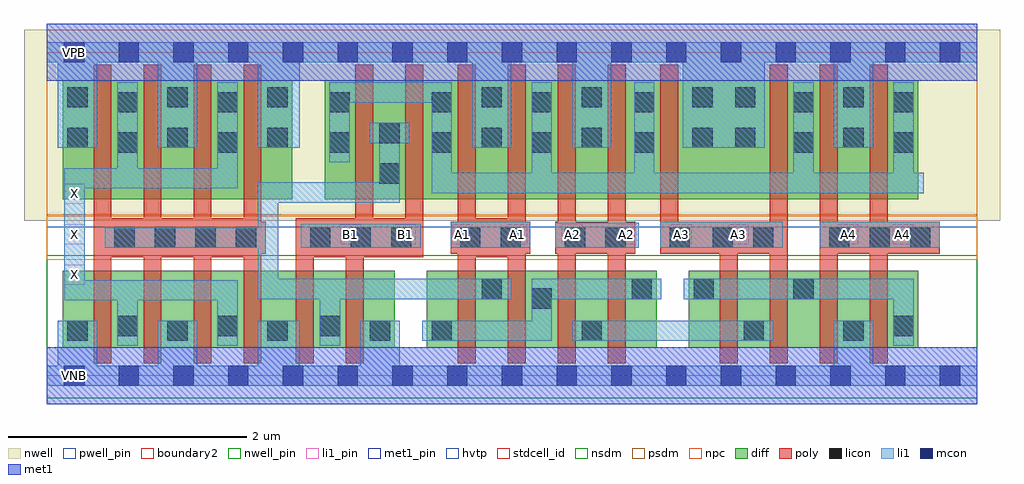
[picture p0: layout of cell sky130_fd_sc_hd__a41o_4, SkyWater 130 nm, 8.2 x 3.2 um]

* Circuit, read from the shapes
.subckt sky130_fd_sc_hd__a41o_4 A1 A2 A3 A4 B1 VGND VNB VPB VPWR X
XM1 X n1 VGND VNB sky130_fd_pr__nfet_01v8 w=0.65 l=0.15 m=4
XM2 n1 B1 VGND VNB sky130_fd_pr__nfet_01v8 w=0.65 l=0.15 m=2
XM3 n1 A1 n2 VNB sky130_fd_pr__nfet_01v8 w=0.65 l=0.15 m=2
XM4 n3 A2 n2 VNB sky130_fd_pr__nfet_01v8 w=0.65 l=0.15 m=2
XM5 n3 A3 n4 VNB sky130_fd_pr__nfet_01v8 w=0.65 l=0.15 m=2
XM6 VGND A4 n4 VNB sky130_fd_pr__nfet_01v8 w=0.65 l=0.15 m=2
XM7 X n1 VPWR VPB sky130_fd_pr__pfet_01v8_hvt w=1 l=0.15 m=4
XM8 n1 B1 n5 VPB sky130_fd_pr__pfet_01v8_hvt w=1 l=0.15 m=2
XM9 VPWR A1 n5 VPB sky130_fd_pr__pfet_01v8_hvt w=1 l=0.15 m=2
XM10 VPWR A2 n5 VPB sky130_fd_pr__pfet_01v8_hvt w=1 l=0.15 m=2
XM11 VPWR A3 n5 VPB sky130_fd_pr__pfet_01v8_hvt w=1 l=0.15 m=2
XM12 VPWR A4 n5 VPB sky130_fd_pr__pfet_01v8_hvt w=1 l=0.15 m=2
.ends

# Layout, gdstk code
import gdstk
lib = gdstk.Library(unit=1e-6, precision=1e-09)
def R(c, l, rs):  # rectangles x0, y0, x1, y1
    for r in rs: c.add(gdstk.rectangle(r[:2], r[2:], *l))
def A(c, l, x, y, w, h, nx, ny, dx, dy):  # array of equal rectangles
    R(c, l, [(x+i*dx, y+j*dy, x+i*dx+w, y+j*dy+h) for i in range(nx) for j in range(ny)])
def P(c, l, *ps):  # polygons
    for p in ps: c.add(gdstk.Polygon(p, *l))
nwell_pin = (64, 16)
nwell = (64, 20)
diff = (65, 20)
poly = (66, 20)
licon = (66, 44)
li1_pin = (67, 16)
li1 = (67, 20)
mcon = (67, 44)
met1_pin = (68, 16)
met1 = (68, 20)
hvtp = (78, 44)
stdcell_id = (81, 4)
nsdm = (93, 44)
psdm = (94, 20)
npc = (95, 20)
pwell_pin = (122, 16)
boundary2 = (236, 0)

sky130_fd_sc_hd__a41o_4 = lib.new_cell('sky130_fd_sc_hd__a41o_4')
R(sky130_fd_sc_hd__a41o_4, nwell_pin, [(0.15,2.635,0.32,2.805)])
R(sky130_fd_sc_hd__a41o_4, nwell, [(-0.19,1.305,8.01,2.91)])
R(sky130_fd_sc_hd__a41o_4, diff, [(0.135,0.235,2.925,0.885), (3.195,0.235,5.125,0.885), (5.395,0.235,7.325,0.885), (0.135,1.485,2.065,2.485), (2.335,1.485,7.325,2.485)])
P(sky130_fd_sc_hd__a41o_4, poly, [(7.505,1.295),(7.065,1.295),(7.065,2.615),(6.915,2.615),(6.915,1.295),(6.645,1.295),(6.645,2.615),(6.495,2.615),(6.495,0.105),(6.645,0.105),(6.645,1.025),(6.915,1.025),(6.915,0.105),(7.065,0.105),(7.065,1.025),(7.505,1.025)],
  [(1.84,1.295),(1.805,1.295),(1.805,2.615),(1.655,2.615),(1.655,1.325),(1.385,1.325),(1.385,2.615),(1.235,2.615),(1.235,1.325),(0.965,1.325),(0.965,2.615),(0.815,2.615),(0.815,1.325),(0.545,1.325),(0.545,2.615),(0.395,2.615),(0.395,0.105),(0.545,0.105),(0.545,0.995),(0.815,0.995),(0.815,0.105),(0.965,0.105),(0.965,0.995),(1.235,0.995),(1.235,0.105),(1.385,0.105),(1.385,0.995),(1.655,0.995),(1.655,0.105),(1.805,0.105),(1.805,1.025),(1.84,1.025)],
  [(3.165,2.615),(3.015,2.615),(3.015,1.325),(2.745,1.325),(2.745,2.615),(2.595,2.615),(2.595,1.325),(2.095,1.325),(2.095,0.105),(2.245,0.105),(2.245,0.995),(2.515,0.995),(2.515,0.105),(2.665,0.105),(2.665,0.995),(3.165,0.995)],
  [(4.065,1.295),(4.025,1.295),(4.025,2.615),(3.875,2.615),(3.875,1.325),(3.605,1.325),(3.605,2.615),(3.455,2.615),(3.455,1.295),(3.395,1.295),(3.395,1.025),(3.455,1.025),(3.455,0.105),(3.605,0.105),(3.605,0.995),(3.875,0.995),(3.875,0.105),(4.025,0.105),(4.025,1.025),(4.065,1.025)],
  [(4.945,1.295),(4.865,1.295),(4.865,2.615),(4.715,2.615),(4.715,1.295),(4.445,1.295),(4.445,2.615),(4.295,2.615),(4.295,1.295),(4.275,1.295),(4.275,1.025),(4.295,1.025),(4.295,0.105),(4.445,0.105),(4.445,1.025),(4.715,1.025),(4.715,0.105),(4.865,0.105),(4.865,1.025),(4.945,1.025)],
  [(6.225,2.615),(6.075,2.615),(6.075,1.295),(5.305,1.295),(5.305,2.615),(5.155,2.615),(5.155,1.025),(5.655,1.025),(5.655,0.105),(5.805,0.105),(5.805,1.025),(6.075,1.025),(6.075,0.105),(6.225,0.105)])
A(sky130_fd_sc_hd__a41o_4, licon, 0.175, 0.295, 0.17, 0.17, 3, 2, 0.84, 1.62)
A(sky130_fd_sc_hd__a41o_4, licon, 0.57, 1.075, 0.17, 0.17, 4, 1, 0.34, 0)
A(sky130_fd_sc_hd__a41o_4, licon, 2.215, 1.075, 0.17, 0.17, 3, 1, 0.34, 0)
A(sky130_fd_sc_hd__a41o_4, licon, 6.575, 1.075, 0.17, 0.17, 3, 1, 0.34, 0)
A(sky130_fd_sc_hd__a41o_4, licon, 0.175, 2.255, 0.17, 0.17, 3, 1, 0.84, 0)
R(sky130_fd_sc_hd__a41o_4, licon, [(2.715,0.295,2.885,0.465), (3.235,0.295,3.405,0.465), (4.495,0.295,4.665,0.465), (5.855,0.295,6.025,0.465), (6.695,0.295,6.865,0.465), (0.595,0.335,0.765,0.505), (1.435,0.335,1.605,0.505), (2.295,0.335,2.465,0.505), (7.115,0.335,7.285,0.505), (4.075,0.565,4.245,0.735), (3.655,0.645,3.825,0.815), (4.915,0.645,5.085,0.815), (5.435,0.645,5.605,0.815), (6.275,0.645,6.445,0.815), (3.475,1.075,3.645,1.245), (3.815,1.075,3.985,1.245), (4.355,1.075,4.525,1.245), (4.695,1.075,4.865,1.245), (5.235,1.075,5.405,1.245), (5.595,1.075,5.765,1.245), (5.935,1.075,6.105,1.245), (2.795,1.615,2.965,1.785), (0.595,1.875,0.765,2.045), (1.435,1.875,1.605,2.045), (2.375,1.875,2.545,2.045), (3.235,1.875,3.405,2.045), (4.075,1.875,4.245,2.045), (4.935,1.875,5.105,2.045), (6.275,1.875,6.445,2.045), (7.115,1.875,7.285,2.045), (3.655,1.915,3.825,2.085), (4.495,1.915,4.665,2.085), (5.425,1.915,5.595,2.085), (5.785,1.915,5.955,2.085), (6.695,1.915,6.865,2.085), (2.795,1.955,2.965,2.125), (0.595,2.215,0.765,2.385), (1.435,2.215,1.605,2.385), (2.375,2.215,2.545,2.385), (3.235,2.215,3.405,2.385), (4.075,2.215,4.245,2.385), (4.935,2.215,5.105,2.385), (6.275,2.215,6.445,2.385), (7.115,2.215,7.285,2.385), (3.655,2.255,3.825,2.425), (4.495,2.255,4.665,2.425), (5.425,2.255,5.595,2.425), (5.785,2.255,5.955,2.425), (6.695,2.255,6.865,2.425)])
A(sky130_fd_sc_hd__a41o_4, li1_pin, 0.15, 0.765, 0.17, 0.17, 1, 3, 0, 0.34)
A(sky130_fd_sc_hd__a41o_4, li1_pin, 3.41, 1.105, 0.17, 0.17, 5, 1, 0.46, 0)
R(sky130_fd_sc_hd__a41o_4, li1_pin, [(2.47,1.105,2.64,1.275), (2.93,1.105,3.1,1.275), (5.73,1.105,5.9,1.275), (6.65,1.105,6.82,1.275), (7.11,1.105,7.28,1.275)])
R(sky130_fd_sc_hd__a41o_4, li1, [(4.415,0.295,6.105,0.465), (2.135,1.075,3.145,1.28), (3.395,1.075,4.065,1.295), (4.275,1.075,4.975,1.285), (5.155,1.075,6.185,1.295), (6.495,1.075,7.505,1.295)])
P(sky130_fd_sc_hd__a41o_4, li1, [(7.37,1.705),(7.285,1.705),(7.285,2.465),(7.115,2.465),(7.115,1.705),(6.445,1.705),(6.445,2.465),(6.275,2.465),(6.275,1.705),(5.105,1.705),(5.105,2.465),(4.935,2.465),(4.935,1.705),(4.245,1.705),(4.245,2.465),(4.075,2.465),(4.075,1.705),(3.405,1.705),(3.405,2.465),(2.375,2.465),(2.375,1.795),(2.545,1.795),(2.545,2.295),(3.235,2.295),(3.235,1.535),(7.37,1.535)],
  [(1.605,0.805),(0.32,0.805),(0.32,1.575),(1.605,1.575),(1.605,2.465),(1.435,2.465),(1.435,1.745),(0.765,1.745),(0.765,2.465),(0.595,2.465),(0.595,1.745),(0.15,1.745),(0.15,0.635),(0.595,0.635),(0.595,0.255),(0.765,0.255),(0.765,0.635),(1.435,0.635),(1.435,0.255),(1.605,0.255)],
  [(7.82,0.085),(6.945,0.085),(6.945,0.465),(6.615,0.465),(6.615,0.085),(2.965,0.085),(2.965,0.465),(2.635,0.465),(2.635,0.085),(2.125,0.085),(2.125,0.465),(1.775,0.465),(1.775,0.085),(1.265,0.085),(1.265,0.465),(0.935,0.465),(0.935,0.085),(0.425,0.085),(0.425,0.465),(0.095,0.465),(0.095,0.085),(0,0.085),(0,-0.085),(7.82,-0.085)],
  [(3.905,0.815),(1.945,0.815),(1.945,1.455),(2.965,1.455),(2.965,1.955),(3.045,1.955),(3.045,2.125),(2.715,2.125),(2.715,1.955),(2.795,1.955),(2.795,1.625),(1.775,1.625),(1.775,1.245),(0.49,1.245),(0.49,1.075),(1.775,1.075),(1.775,0.645),(2.295,0.645),(2.295,0.255),(2.465,0.255),(2.465,0.645),(3.905,0.645)],
  [(7.82,2.805),(0,2.805),(0,2.635),(0.095,2.635),(0.095,1.915),(0.425,1.915),(0.425,2.635),(0.935,2.635),(0.935,1.915),(1.265,1.915),(1.265,2.635),(1.775,2.635),(1.775,1.915),(2.125,1.915),(2.125,2.635),(3.575,2.635),(3.575,1.915),(3.905,1.915),(3.905,2.635),(4.415,2.635),(4.415,1.915),(4.745,1.915),(4.745,2.635),(5.345,2.635),(5.345,1.915),(6.035,1.915),(6.035,2.635),(6.615,2.635),(6.615,1.915),(6.945,1.915),(6.945,2.635),(7.82,2.635)],
  [(5.165,0.815),(4.075,0.815),(4.075,0.465),(3.155,0.465),(3.155,0.295),(4.245,0.295),(4.245,0.645),(5.165,0.645)],
  [(7.285,0.815),(5.355,0.815),(5.355,0.645),(7.115,0.645),(7.115,0.255),(7.285,0.255)])
A(sky130_fd_sc_hd__a41o_4, mcon, 0.145, -0.085, 0.17, 0.17, 17, 2, 0.46, 2.72)
R(sky130_fd_sc_hd__a41o_4, met1_pin, [(0.15,-0.085,0.32,0.085), (0.15,2.635,0.32,2.805)])
R(sky130_fd_sc_hd__a41o_4, hvtp, [(0,1.25,7.82,2.72)])
R(sky130_fd_sc_hd__a41o_4, stdcell_id, [(0,0,7.82,2.72)])
R(sky130_fd_sc_hd__a41o_4, nsdm, [(0,-0.19,7.82,1.015)])
R(sky130_fd_sc_hd__a41o_4, psdm, [(0,1.355,7.82,2.91)])
R(sky130_fd_sc_hd__a41o_4, npc, [(0,0.975,7.82,1.345)])
R(sky130_fd_sc_hd__a41o_4, pwell_pin, [(0.15,-0.085,0.32,0.085)])
R(sky130_fd_sc_hd__a41o_4, boundary2, [(0,0,7.82,2.72)])
sky130_fd_sc_hd__a41o_4.add(gdstk.FlexPath([(0,2.72),(7.82,2.72)], 0.48, ends="flush", simple_path=True, layer=68, datatype=20))  # met1
sky130_fd_sc_hd__a41o_4.add(gdstk.FlexPath([(0,0),(7.82,0)], 0.48, ends="flush", simple_path=True, layer=68, datatype=20))  # met1
sky130_fd_sc_hd__a41o_4.add(gdstk.Label('X', (0.235,0.85), layer=67, texttype=5))
sky130_fd_sc_hd__a41o_4.add(gdstk.Label('A4', (6.735,1.19), layer=67, texttype=5))
sky130_fd_sc_hd__a41o_4.add(gdstk.Label('A4', (7.195,1.19), layer=67, texttype=5))
sky130_fd_sc_hd__a41o_4.add(gdstk.Label('A3', (5.815,1.19), layer=67, texttype=5))
sky130_fd_sc_hd__a41o_4.add(gdstk.Label('A2', (4.415,1.19), layer=67, texttype=5))
sky130_fd_sc_hd__a41o_4.add(gdstk.Label('A3', (5.335,1.19), layer=67, texttype=5))
sky130_fd_sc_hd__a41o_4.add(gdstk.Label('A1', (3.495,1.19), layer=67, texttype=5))
sky130_fd_sc_hd__a41o_4.add(gdstk.Label('A2', (4.875,1.19), layer=67, texttype=5))
sky130_fd_sc_hd__a41o_4.add(gdstk.Label('B1', (2.555,1.19), layer=67, texttype=5))
sky130_fd_sc_hd__a41o_4.add(gdstk.Label('A1', (3.955,1.19), layer=67, texttype=5))
sky130_fd_sc_hd__a41o_4.add(gdstk.Label('B1', (3.015,1.19), layer=67, texttype=5))
sky130_fd_sc_hd__a41o_4.add(gdstk.Label('X', (0.235,1.19), layer=67, texttype=5))
sky130_fd_sc_hd__a41o_4.add(gdstk.Label('X', (0.235,1.53), layer=67, texttype=5))
sky130_fd_sc_hd__a41o_4.add(gdstk.Label('VNB', (0.235,0), layer=64, texttype=59))
sky130_fd_sc_hd__a41o_4.add(gdstk.Label('VPB', (0.235,2.72), layer=64, texttype=5))
sky130_fd_sc_hd__a41o_4.add(gdstk.Label('VGND', (0.235,0), layer=68, texttype=5))
sky130_fd_sc_hd__a41o_4.add(gdstk.Label('VPWR', (0.235,2.72), layer=68, texttype=5))
sky130_fd_sc_hd__a41o_4.add(gdstk.Label('a41o_4', (0,0), layer=83, texttype=44))

lib.write_gds('sky130_fd_sc_hd__a41o_4.gds')
